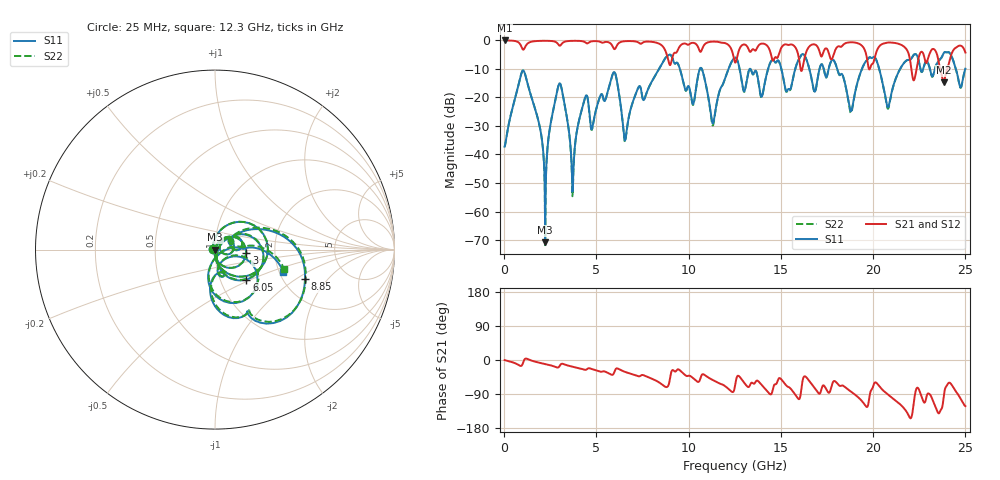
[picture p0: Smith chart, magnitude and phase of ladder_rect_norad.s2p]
! R_s4_rect_cap5: kisi's ladder with the plane pair as a finite cavity (rect) (Finite board 24 × 16 mm, via L1 → L4, a capacitor between the planes 5 mm away, no return via)
# Hz S RI R 50
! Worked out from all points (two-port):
!   1000 points, 25 MHz to 25 GHz, reference 50 ohm
!   highest |S21| = -0.12 dB at 25 MHz (marker M1); lowest = -14.8 dB at 23.82 GHz (marker M2)
!   |S21| within 3 dB of the highest: 1.08 GHz to 5.966 GHz (4.887 GHz wide, 139 % of centre); 6.002 GHz to 8.693 GHz (2.691 GHz wide, 36.6 % of centre)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
!   lowest |S11| = -70.7 dB at 2.225 GHz (marker M3), VSWR 1.00, Z = 50 - j0.0281 ohm
!   |S11| at or under -10 dB: start of sweep to 8.403 GHz; 10.71 GHz to 12.17 GHz (1.459 GHz wide, 12.8 % of centre); 12.76 GHz to 14.31 GHz (1.55 GHz wide, 11.5 % of centre)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
!   |S22| runs from -72.1 to -4.2 dB; largest |S21 - S12| = 0
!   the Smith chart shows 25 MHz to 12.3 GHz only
!   S11 on the Smith chart (normalised r, x): 25 MHz: 0.97, +0.00; 3 GHz: 1.42, -0.06; 6.05 GHz: 1.33, -0.47; 8.85 GHz: 2.61, -1.20; 12.3 GHz: 2.10, -0.62
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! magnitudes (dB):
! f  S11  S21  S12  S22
! 25 MHz  -37.3  -0.1  -0.1  -37.3
! 1.05 GHz  -10.7  -3.3  -3.3  -10.7
! 2.225 GHz  -70.7  -0.2  -0.2  -72.1
! 3 GHz  -15.1  -1.9  -1.9  -15.1
! 3.7 GHz  -53.1  -0.3  -0.3  -54.7
! 4.2 GHz  -24.5  -0.3  -0.3  -24.5
! 6.05 GHz  -12.3  -2.7  -2.7  -12.3
! 6.575 GHz  -34.7  -0.4  -0.4  -35.2
! 8.35 GHz  -10.6  -1.1  -1.1  -10.6
! 8.85 GHz  -5.5  -5.8  -5.8  -5.6
! 10.22 GHz  -22.4  -0.9  -0.9  -22.6
! 10.72 GHz  -10.2  -3.2  -3.2  -10.3
! 11.3 GHz  -29.2  -0.5  -0.5  -29.9
! 12.3 GHz  -8.0  -3.0  -3.0  -8.0
! 12.53 GHz  -6.1  -7.9  -7.9  -6.2
! 16.68 GHz  -13.9  -1.6  -1.6  -14.0
! 17.85 GHz  -7.0  -5.2  -5.2  -7.0
! 18.8 GHz  -24.9  -0.8  -0.8  -25.5
! 20.02 GHz  -5.9  -7.7  -7.7  -5.9
! 20.85 GHz  -22.9  -0.8  -0.8  -23.4
! 23.82 GHz  -4.5  -14.8  -14.8  -4.6
! 25 GHz  -10.0  -4.4  -4.4  -10.0
